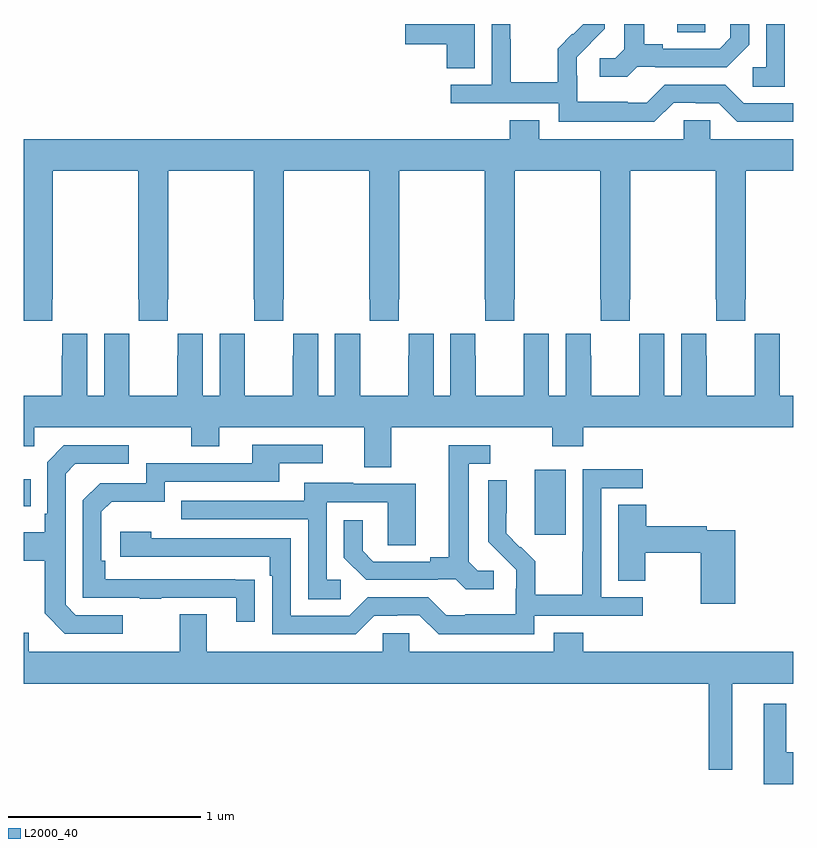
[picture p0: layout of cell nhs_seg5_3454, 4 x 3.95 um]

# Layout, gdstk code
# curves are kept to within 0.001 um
import gdstk
lib = gdstk.Library(unit=1e-6, precision=1e-09)
def R(c, l, rs):  # rectangles x0, y0, x1, y1
    for r in rs: c.add(gdstk.rectangle(r[:2], r[2:], *l))
def P(c, l, *ps):  # polygons
    for p in ps: c.add(gdstk.Polygon(p, *l))
L2000_40 = (2000, 40)

nhs_seg5_3454 = lib.new_cell('nhs_seg5_3454')
R(nhs_seg5_3454, L2000_40, [(315.656,912.144,315.817,912.484), (313,912.293,313.037,912.433), (316.397,914.755,316.542,914.799)])
P(nhs_seg5_3454, L2000_40, [(316.188,914.577),(316.282,914.577),(316.282,914.574),(316.654,914.574),(316.77,914.69),(316.77,914.799),(316.673,914.799),(316.673,914.727),(316.616,914.67),(316.321,914.67),(316.321,914.693),(316.225,914.693),(316.225,914.799),(316.121,914.799),(316.121,914.669),(316.074,914.622),(315.993,914.622),(315.993,914.525),(316.136,914.525)],
  [(315.343,914.799),(314.982,914.799),(314.982,914.693),(315.2,914.693),(315.2,914.569),(315.343,914.569)],
  [(316.377,914.391),(316.493,914.391),(316.493,914.388),(316.611,914.388),(316.707,914.292),(317,914.292),(317,914.388),(316.743,914.388),(316.647,914.484),(316.332,914.484),(316.239,914.391),(316.139,914.391),(316.139,914.395),(315.876,914.395),(315.876,914.529),(315.874,914.529),(315.874,914.626),(316.02,914.774),(316.02,914.799),(315.909,914.799),(315.855,914.745),(315.852,914.748),(315.775,914.671),(315.775,914.497),(315.531,914.497),(315.531,914.72),(315.528,914.72),(315.528,914.799),(315.432,914.799),(315.432,914.484),(315.219,914.484),(315.219,914.388),(315.78,914.388),(315.78,914.291),(316.277,914.291)],
  [(316.956,914.799),(316.86,914.799),(316.86,914.574),(316.788,914.574),(316.788,914.473),(316.956,914.473)],
  [(313.149,913.369),(313.152,913.369),(313.152,914.036),(313.597,914.036),(313.597,913.369),(313.599,913.369),(313.599,913.257),(313.749,913.257),(313.749,913.369),(313.752,913.369),(313.752,914.036),(314.197,914.036),(314.197,913.369),(314.199,913.369),(314.199,913.257),(314.349,913.257),(314.349,913.369),(314.352,913.369),(314.352,914.036),(314.797,914.036),(314.797,913.369),(314.799,913.369),(314.799,913.257),(314.949,913.257),(314.949,913.369),(314.952,913.369),(314.952,914.036),(315.397,914.036),(315.397,913.369),(315.399,913.369),(315.399,913.257),(315.549,913.257),(315.549,913.369),(315.552,913.369),(315.552,914.036),(315.997,914.036),(315.997,913.369),(315.999,913.369),(315.999,913.257),(316.149,913.257),(316.149,913.369),(316.152,913.369),(316.152,914.036),(316.597,914.036),(316.597,913.369),(316.599,913.369),(316.599,913.257),(316.749,913.257),(316.749,913.369),(316.752,913.369),(316.752,914.036),(317,914.036),(317,914.2),(316.569,914.2),(316.569,914.298),(316.431,914.298),(316.431,914.2),(315.679,914.2),(315.679,914.299),(315.527,914.299),(315.527,914.2),(313,914.2),(313,913.257),(313.149,913.257)],
  [(314.911,912.704),(315.748,912.704),(315.748,912.605),(315.908,912.605),(315.908,912.704),(317,912.704),(317,912.868),(316.93,912.868),(316.93,913.189),(316.8,913.189),(316.8,913.076),(316.799,913.076),(316.799,912.868),(316.549,912.868),(316.549,913.076),(316.548,913.076),(316.548,913.189),(316.418,913.189),(316.418,912.868),(316.33,912.868),(316.33,913.189),(316.2,913.189),(316.2,913.076),(316.199,913.076),(316.199,912.868),(315.949,912.868),(315.949,913.076),(315.948,913.076),(315.948,913.189),(315.818,913.189),(315.818,912.868),(315.73,912.868),(315.73,913.189),(315.6,913.189),(315.6,913.076),(315.599,913.076),(315.599,912.868),(315.349,912.868),(315.349,913.076),(315.348,913.076),(315.348,913.189),(315.218,913.189),(315.218,912.868),(315.13,912.868),(315.13,913.189),(315,913.189),(315,913.076),(314.999,913.076),(314.999,912.868),(314.749,912.868),(314.749,913.076),(314.748,913.076),(314.748,913.189),(314.618,913.189),(314.618,912.868),(314.53,912.868),(314.53,913.189),(314.4,913.189),(314.4,913.076),(314.399,913.076),(314.399,912.868),(314.149,912.868),(314.149,913.076),(314.148,913.076),(314.148,913.189),(314.018,913.189),(314.018,912.868),(313.93,912.868),(313.93,913.189),(313.8,913.189),(313.8,913.076),(313.799,913.076),(313.799,912.868),(313.549,912.868),(313.549,913.076),(313.548,913.076),(313.548,913.189),(313.418,913.189),(313.418,912.868),(313.33,912.868),(313.33,913.189),(313.2,913.189),(313.2,913.076),(313.199,913.076),(313.199,912.868),(313,912.868),(313,912.605),(313.056,912.605),(313.056,912.704),(313.87,912.704),(313.87,912.605),(314.017,912.605),(314.017,912.704),(314.771,912.704),(314.771,912.496),(314.911,912.496)],
  [(314.201,911.912),(313.424,911.913),(313.424,912.01),(313.404,912.01),(313.404,912.264),(313.457,912.317),(313.734,912.317),(313.734,912.42),(314.329,912.42),(314.329,912.516),(314.554,912.516),(314.554,912.612),(314.189,912.612),(314.189,912.516),(313.638,912.516),(313.638,912.414),(313.398,912.414),(313.308,912.324),(313.308,911.817),(313.603,911.817),(313.603,911.812),(313.715,911.812),(313.715,911.817),(314.105,911.817),(314.105,911.694),(314.201,911.694)],
  [(313.516,911.727),(313.272,911.727),(313.218,911.781),(313.218,912.462),(313.269,912.513),(313.546,912.513),(313.546,912.609),(313.209,912.609),(313.122,912.522),(313.122,912.253),(313.11,912.253),(313.11,912.157),(313,912.157),(313,912.01),(313.11,912.01),(313.11,911.737),(313.215,911.631),(313.516,911.631)],
  [(315.442,911.958),(315.36,911.958),(315.313,912.005),(315.313,912.513),(315.424,912.513),(315.424,912.609),(315.209,912.609),(315.209,912.029),(315.113,912.029),(315.113,912.006),(314.818,912.006),(314.761,912.063),(314.761,912.22),(314.664,912.22),(314.664,912.026),(314.78,911.91),(315.152,911.91),(315.152,911.913),(315.246,911.913),(315.298,911.861),(315.442,911.861)],
  [(315.654,911.724),(316.216,911.724),(316.216,911.82),(316.002,911.82),(316.002,912.387),(316.216,912.387),(316.216,912.486),(315.906,912.486),(315.906,912.056),(315.904,912.056),(315.904,911.833),(315.659,911.833),(315.659,912.007),(315.582,912.084),(315.579,912.081),(315.509,912.152),(315.509,912.256),(315.511,912.256),(315.511,912.428),(315.414,912.428),(315.414,912.11),(315.56,911.962),(315.56,911.865),(315.558,911.865),(315.558,911.731),(315.295,911.731),(315.295,911.727),(315.195,911.727),(315.102,911.82),(314.787,911.82),(314.691,911.724),(314.388,911.724),(314.388,912.126),(313.664,912.126),(313.664,912.16),(313.503,912.16),(313.503,912.03),(314.279,912.03),(314.279,911.933),(314.292,911.933),(314.292,911.628),(314.727,911.628),(314.823,911.724),(314.942,911.724),(314.942,911.727),(315.057,911.727),(315.157,911.627),(315.654,911.627)],
  [(314.647,911.91),(314.574,911.91),(314.574,912.315),(314.892,912.315),(314.892,912.091),(315.037,912.091),(315.037,912.411),(314.713,912.411),(314.713,912.415),(314.459,912.415),(314.459,912.321),(313.819,912.321),(313.819,912.225),(314.478,912.225),(314.478,911.809),(314.647,911.809)],
  [(316.697,912.168),(316.55,912.168),(316.55,912.188),(316.235,912.188),(316.235,912.302),(316.091,912.302),(316.091,911.905),(316.23,911.905),(316.23,912.052),(316.519,912.052),(316.519,911.787),(316.697,911.787)],
  [(316.681,911.372),(317,911.372),(317,911.536),(315.908,911.536),(315.908,911.635),(315.755,911.635),(315.755,911.536),(315.003,911.536),(315.003,911.634),(314.865,911.634),(314.865,911.536),(313.951,911.536),(313.951,911.731),(313.811,911.731),(313.811,911.536),(313.027,911.536),(313.027,911.635),(313,911.635),(313,911.372),(316.56,911.372),(316.56,910.923),(316.681,910.923)],
  [(317,911.014),(316.963,911.014),(316.963,911.266),(316.847,911.266),(316.847,910.85),(317,910.85)])

lib.write_gds('nhs_seg5_3454.gds')
